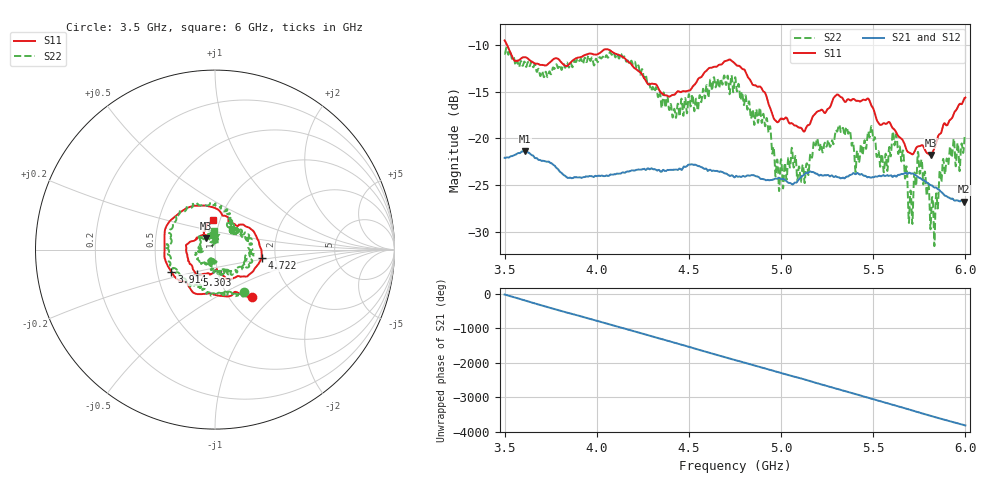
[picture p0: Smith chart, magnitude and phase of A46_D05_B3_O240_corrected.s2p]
! Created with skrf 1.9.0 (http://scikit-rf.org).
# Hz S RI R 50.0
!freq ReS11 ImS11 ReS21 ImS21 ReS12 ImS12 ReS22 ImS22
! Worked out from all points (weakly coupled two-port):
!   1601 points, 3.5 GHz to 6 GHz, reference 50 ohm
!   highest |S21| = -21.38 dB at 3.609 GHz (marker M1); lowest = -26.8 dB at 5.994 GHz (marker M2)
!   lowest |S11| = -21.8 dB at 5.811 GHz (marker M3), VSWR 1.18, Z = 44.9 + j5.8 ohm
!   |S11| at or under -10 dB: 3.513 GHz to end of sweep
!   |S22| runs from -31.6 to -10.3 dB; largest |S21 - S12| = 0.0011
!   S11 on the Smith chart (normalised r, x): 3.5 GHz: 1.26, -0.75; 3.914 GHz: 0.59, -0.16; 4.722 GHz: 1.69, -0.17; 5.303 GHz: 0.79, -0.23; 6 GHz: 0.92, +0.31
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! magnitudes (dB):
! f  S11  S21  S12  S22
! 3.5 GHz  -9.5  -22.1  -22.1  -10.9
! 3.609 GHz  -11.3  -21.4  -21.4  -11.8
! 3.914 GHz  -11.3  -24.2  -24.2  -11.5
! 3.917 GHz  -11.3  -24.2  -24.2  -11.6
! 4.139 GHz  -11.3  -23.7  -23.6  -11.3
! 4.334 GHz  -14.6  -23.4  -23.3  -15.5
! 4.42 GHz  -15.3  -23.4  -23.3  -16.8
! 4.722 GHz  -11.6  -24.0  -24.0  -15.2
! 4.75 GHz  -12.0  -24.1  -24.0  -13.5
! 4.931 GHz  -16.3  -24.5  -24.4  -19.3
! 4.981 GHz  -18.3  -24.3  -24.3  -22.5
! 5.167 GHz  -17.9  -23.6  -23.6  -22.1
! 5.303 GHz  -15.3  -24.2  -24.1  -19.3
! 5.412 GHz  -16.0  -23.7  -23.7  -21.3
! 5.483 GHz  -16.1  -24.2  -24.1  -19.7
! 5.584 GHz  -18.3  -24.0  -23.9  -21.3
! 5.634 GHz  -19.7  -23.9  -23.9  -21.6
! 5.703 GHz  -21.6  -23.8  -23.7  -25.6
! 5.753 GHz  -20.8  -24.3  -24.2  -23.8
! 5.811 GHz  -21.8  -25.0  -24.9  -29.8
! 5.994 GHz  -15.7  -26.8  -26.7  -20.3
! 6 GHz  -15.6  -26.8  -26.7  -19.7
